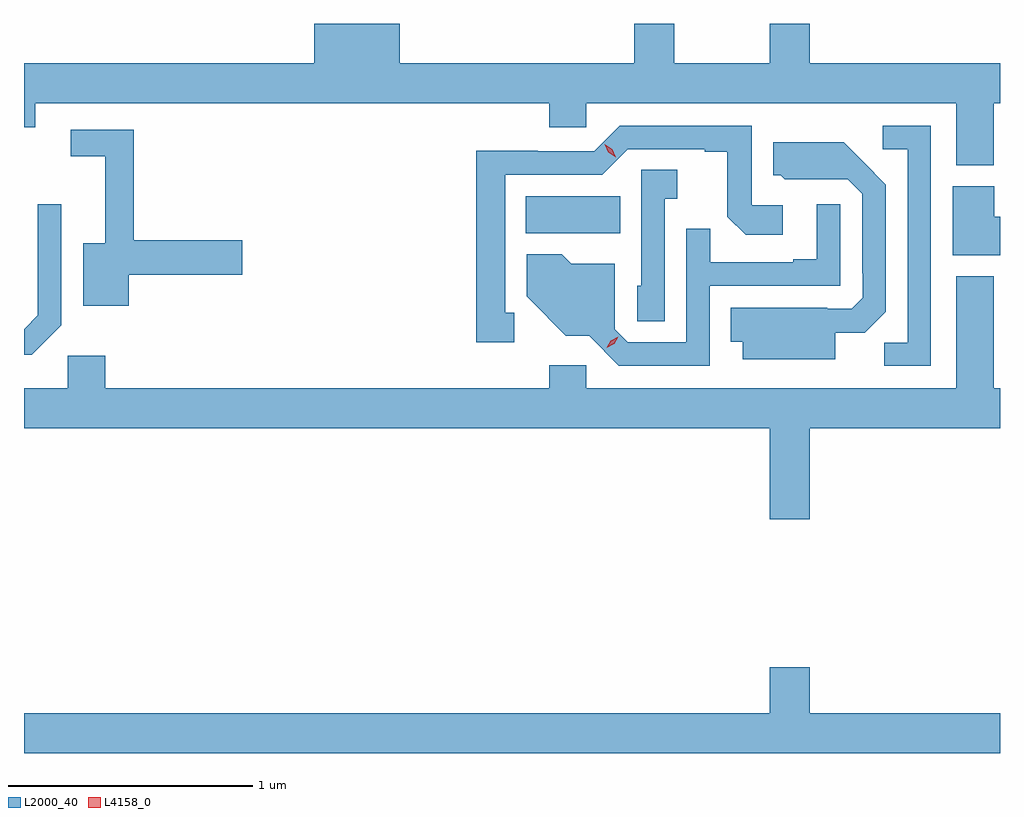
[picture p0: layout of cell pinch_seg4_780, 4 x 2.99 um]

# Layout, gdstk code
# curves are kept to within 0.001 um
import gdstk
lib = gdstk.Library(unit=1e-6, precision=1e-09)
def R(c, l, rs):  # rectangles x0, y0, x1, y1
    for r in rs: c.add(gdstk.rectangle(r[:2], r[2:], *l))
def P(c, l, *ps):  # polygons
    for p in ps: c.add(gdstk.Polygon(p, *l))
L2000_40 = (2000, 40)
L4158_0 = (4158, 0)

pinch_seg4_780 = lib.new_cell('pinch_seg4_780')
R(pinch_seg4_780, L2000_40, [(799.373,816.266,799.76,816.418)])
P(pinch_seg4_780, L2000_40, [(801.29,816.8),(801.316,816.8),(801.316,816.964),(800.536,816.964),(800.536,817.125),(800.372,817.125),(800.372,816.964),(799.981,816.964),(799.981,817.125),(799.817,817.125),(799.817,816.964),(798.856,816.964),(798.856,817.125),(798.506,817.125),(798.506,816.964),(797.316,816.964),(797.316,816.702),(797.362,816.702),(797.362,816.8),(799.469,816.8),(799.469,816.702),(799.62,816.702),(799.62,816.8),(801.137,816.8),(801.137,816.545),(801.29,816.545)],
  [(801.033,816.708),(800.835,816.708),(800.835,816.612),(800.937,816.612),(800.937,815.819),(800.841,815.819),(800.841,815.724),(801.033,815.724)],
  [(799.326,815.94),(799.288,815.94),(799.288,816.507),(799.685,816.507),(799.79,816.612),(800.105,816.612),(800.105,816.6),(800.199,816.6),(800.199,816.335),(800.274,816.26),(800.425,816.26),(800.425,816.381),(800.298,816.381),(800.298,816.708),(799.758,816.708),(799.653,816.603),(799.421,816.603),(799.421,816.605),(799.17,816.605),(799.17,815.82),(799.326,815.82)],
  [(797.746,816.097),(798.211,816.097),(798.211,816.239),(797.765,816.239),(797.765,816.69),(797.508,816.69),(797.508,816.582),(797.648,816.582),(797.648,816.226),(797.558,816.226),(797.558,815.969),(797.746,815.969)],
  [(800.641,815.86),(800.761,815.86),(800.847,815.946),(800.847,816.466),(800.675,816.64),(800.387,816.64),(800.387,816.504),(800.418,816.504),(800.434,816.488),(800.691,816.489),(800.751,816.429),(800.751,816.103),(800.754,816.103),(800.754,816.003),(800.709,815.958),(800.609,815.958),(800.609,815.962),(800.212,815.962),(800.212,815.822),(800.261,815.822),(800.261,815.75),(800.641,815.75)],
  [(799.941,816.409),(799.993,816.409),(799.993,816.527),(799.845,816.527),(799.845,816.051),(799.83,816.051),(799.83,815.907),(799.941,815.907)],
  [(801.316,816.334),(801.292,816.334),(801.292,816.46),(801.122,816.46),(801.122,816.176),(801.316,816.176)],
  [(797.469,815.889),(797.469,816.385),(797.373,816.385),(797.373,815.931),(797.316,815.874),(797.316,815.768),(797.348,815.768)],
  [(800.127,816.051),(800.661,816.051),(800.661,816.385),(800.564,816.385),(800.564,816.16),(800.468,816.16),(800.468,816.147),(800.129,816.147),(800.129,816.286),(800.031,816.286),(800.031,815.82),(799.791,815.82),(799.737,815.874),(799.737,816.142),(799.559,816.142),(799.52,816.181),(799.376,816.181),(799.376,816.009),(799.464,815.921),(799.462,815.92),(799.536,815.846),(799.632,815.846),(799.754,815.724),(800.127,815.724)],
  [(800.536,815.468),(801.316,815.468),(801.316,815.632),(801.29,815.632),(801.29,816.091),(801.137,816.091),(801.137,815.632),(799.62,815.632),(799.62,815.725),(799.469,815.725),(799.469,815.632),(797.648,815.632),(797.648,815.764),(797.496,815.764),(797.496,815.632),(797.316,815.632),(797.316,815.468),(800.372,815.468),(800.372,815.094),(800.536,815.094)],
  [(801.316,814.3),(800.536,814.3),(800.536,814.489),(800.372,814.489),(800.372,814.3),(797.316,814.3),(797.316,814.136),(801.316,814.136)])
P(pinch_seg4_780, L4158_0, [(799.704,815.797),(799.704,815.797),(799.721,815.827),(799.752,815.843),(799.752,815.843),(799.752,815.843),(799.735,815.813),(799.705,815.797)],
  [(799.741,816.579),(799.711,816.599),(799.696,816.631),(799.696,816.632),(799.696,816.632),(799.726,816.612),(799.742,816.579),(799.742,816.579)])

lib.write_gds('pinch_seg4_780.gds')
